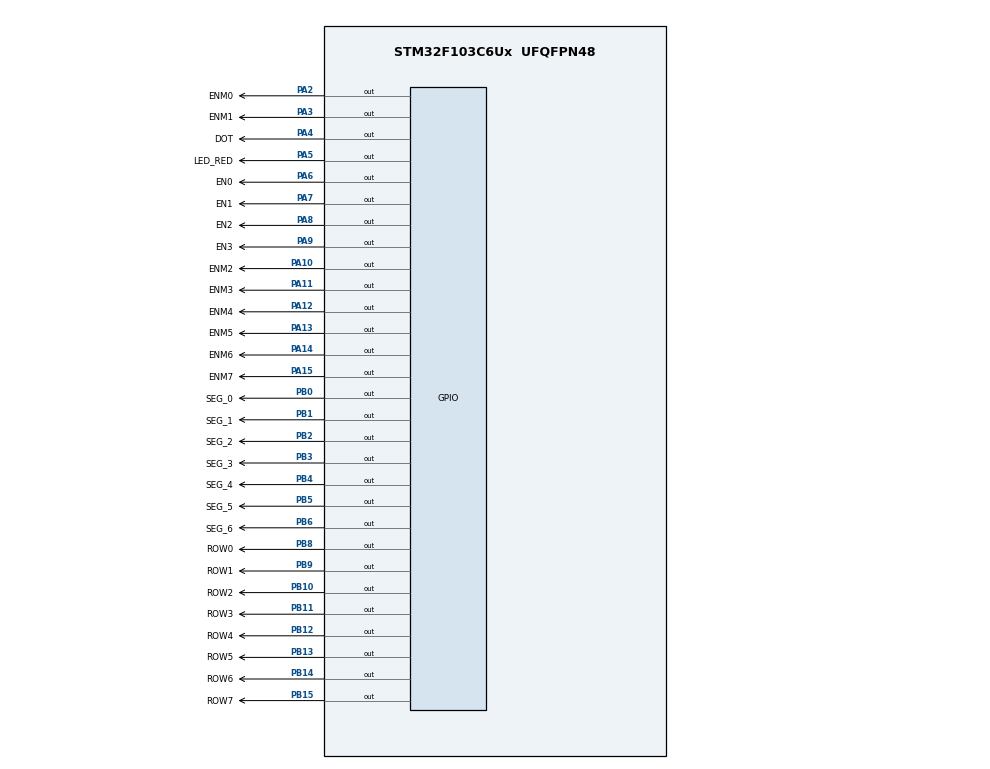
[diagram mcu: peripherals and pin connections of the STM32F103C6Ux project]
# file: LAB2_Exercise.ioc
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Mcu.Family=STM32F1
Mcu.Name=STM32F103C6Ux
Mcu.Package=UFQFPN48
NVIC.PriorityGroup=NVIC_PRIORITYGROUP_4
NVIC.TIM2_IRQn=true\:0\:0\:false\:false\:true\:true\:true
PA10.GPIO_Label=ENM2
PA10.Signal=GPIO_Output
PA11.GPIO_Label=ENM3
PA11.Signal=GPIO_Output
PA12.GPIO_Label=ENM4
PA12.Signal=GPIO_Output
PA13.GPIO_Label=ENM5
PA13.Signal=GPIO_Output
PA14.GPIO_Label=ENM6
PA14.Signal=GPIO_Output
PA15.GPIO_Label=ENM7
PA15.Signal=GPIO_Output
PA2.GPIO_Label=ENM0
PA2.Signal=GPIO_Output
PA3.GPIO_Label=ENM1
PA3.Signal=GPIO_Output
PA4.GPIO_Label=DOT
PA4.Signal=GPIO_Output
PA5.GPIO_Label=LED_RED
PA5.Signal=GPIO_Output
PA6.GPIO_Label=EN0
PA6.Signal=GPIO_Output
PA7.GPIO_Label=EN1
PA7.Signal=GPIO_Output
PA8.GPIO_Label=EN2
PA8.Signal=GPIO_Output
PA9.GPIO_Label=EN3
PA9.Signal=GPIO_Output
PB0.GPIO_Label=SEG_0
PB0.Signal=GPIO_Output
PB1.GPIO_Label=SEG_1
PB1.Signal=GPIO_Output
PB10.GPIO_Label=ROW2
PB10.Signal=GPIO_Output
PB11.GPIO_Label=ROW3
PB11.Signal=GPIO_Output
PB12.GPIO_Label=ROW4
PB12.Signal=GPIO_Output
PB13.GPIO_Label=ROW5
PB13.Signal=GPIO_Output
PB14.GPIO_Label=ROW6
PB14.Signal=GPIO_Output
PB15.GPIO_Label=ROW7
PB15.Signal=GPIO_Output
PB2.GPIO_Label=SEG_2
PB2.Signal=GPIO_Output
PB3.GPIO_Label=SEG_3
PB3.Signal=GPIO_Output
PB4.GPIO_Label=SEG_4
PB4.Signal=GPIO_Output
PB5.GPIO_Label=SEG_5
PB5.Signal=GPIO_Output
PB6.GPIO_Label=SEG_6
PB6.Signal=GPIO_Output
PB8.GPIO_Label=ROW0
PB8.Signal=GPIO_Output
PB9.GPIO_Label=ROW1
PB9.Signal=GPIO_Output
ProjectManager.HeapSize=0x200
ProjectManager.StackSize=0x400
ProjectManager.TargetToolchain=STM32CubeIDE
RCC.APB1Freq_Value=8000000
RCC.APB2Freq_Value=8000000
TIM2.Period=9
TIM2.Prescaler=7999
VP_SYS_VS_ND.Mode=No_Debug
VP_TIM2_VS_ClockSourceINT.Mode=Internal
board=custom

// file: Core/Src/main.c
/* USER CODE BEGIN Header */
/**
  ******************************************************************************
  * @file           : main.c
  * @brief          : Main program body
  ******************************************************************************
  * @attention
  *
  * <h2><center>&copy; Copyright (c) 2024 STMicroelectronics.
  * All rights reserved.</center></h2>
  *
  * This software component is licensed by ST under BSD 3-Clause license,
  * the "License"; You may not use this file except in compliance with the
  * License. You may obtain a copy of the License at:
  *                        opensource.org/licenses/BSD-3-Clause
  *
  ******************************************************************************
  */
/* USER CODE END Header */
#include "main.h"

/* USER CODE BEGIN Includes */
#include "Ex10.h"
#include "TimerInterrupt.h"
/* USER CODE END Includes */

TIM_HandleTypeDef htim2;

void SystemClock_Config(void);
static void MX_GPIO_Init(void);
static void MX_TIM2_Init(void);

int main(void)
{

  /* MCU Configuration--------------------------------------------------------*/

  /* Reset of all peripherals, Initializes the Flash interface and the Systick. */
  HAL_Init();

  /* Configure the system clock */
  SystemClock_Config();

  /* Initialize all configured peripherals */
  MX_GPIO_Init();
  MX_TIM2_Init();
  /* USER CODE BEGIN 2 */
  HAL_TIM_Base_Start_IT(&htim2);
  /* USER CODE END 2 */

  /* Infinite loop */
  /* USER CODE BEGIN WHILE */
  int i = 0;
  //int state = 0;
  setTimer(1);
  while (1)
  {
	  if(timer_flag == 1){
		  updateLEDMatrix_animation(/*state, */i);
		  i++;
		  if(i == 8){
			  i = 0;
//			  state++;
//			  if(state == 14){
//				  state = 0;
//			  }
			  for(int j = 0; j < 8; j++){
				  uint8_t temp = (matrix_buffer_heart[j] >> 7)&1;
				  matrix_buffer_heart[j] = matrix_buffer_heart[j] << 1;
				  matrix_buffer_heart[j] = matrix_buffer_heart[j] + temp;
			  }
		  }
		  setTimer(1);
	  }
    /* USER CODE END WHILE */

  }
}

void SystemClock_Config(void)
{
  RCC_OscInitTypeDef RCC_OscInitStruct = {0};
  RCC_ClkInitTypeDef RCC_ClkInitStruct = {0};

  /** Initializes the RCC Oscillators according to the specified parameters
  * in the RCC_OscInitTypeDef structure.
  */
  RCC_OscInitStruct.OscillatorType = RCC_OSCILLATORTYPE_HSI;
  RCC_OscInitStruct.HSIState = RCC_HSI_ON;
  RCC_OscInitStruct.HSICalibrationValue = RCC_HSICALIBRATION_DEFAULT;
  RCC_OscInitStruct.PLL.PLLState = RCC_PLL_NONE;
  if (HAL_RCC_OscConfig(&RCC_OscInitStruct) != HAL_OK)
  {
    Error_Handler();
  }
  /** Initializes the CPU, AHB and APB buses clocks
  */
  RCC_ClkInitStruct.ClockType = RCC_CLOCKTYPE_HCLK|RCC_CLOCKTYPE_SYSCLK
                              |RCC_CLOCKTYPE_PCLK1|RCC_CLOCKTYPE_PCLK2;
  RCC_ClkInitStruct.SYSCLKSource = RCC_SYSCLKSOURCE_HSI;
  RCC_ClkInitStruct.AHBCLKDivider = RCC_SYSCLK_DIV1;
  RCC_ClkInitStruct.APB1CLKDivider = RCC_HCLK_DIV1;
  RCC_ClkInitStruct.APB2CLKDivider = RCC_HCLK_DIV1;

  if (HAL_RCC_ClockConfig(&RCC_ClkInitStruct, FLASH_LATENCY_0) != HAL_OK)
  {
    Error_Handler();
  }
}

static void MX_TIM2_Init(void)
{

  TIM_ClockConfigTypeDef sClockSourceConfig = {0};
  TIM_MasterConfigTypeDef sMasterConfig = {0};

  htim2.Instance = TIM2;
  htim2.Init.Prescaler = 7999;
  htim2.Init.CounterMode = TIM_COUNTERMODE_UP;
  htim2.Init.Period = 9;
  htim2.Init.ClockDivision = TIM_CLOCKDIVISION_DIV1;
  htim2.Init.AutoReloadPreload = TIM_AUTORELOAD_PRELOAD_DISABLE;
  if (HAL_TIM_Base_Init(&htim2) != HAL_OK)
  {
    Error_Handler();
  }
  sClockSourceConfig.ClockSource = TIM_CLOCKSOURCE_INTERNAL;
  if (HAL_TIM_ConfigClockSource(&htim2, &sClockSourceConfig) != HAL_OK)
  {
    Error_Handler();
  }
  sMasterConfig.MasterOutputTrigger = TIM_TRGO_RESET;
  sMasterConfig.MasterSlaveMode = TIM_MASTERSLAVEMODE_DISABLE;
  if (HAL_TIMEx_MasterConfigSynchronization(&htim2, &sMasterConfig) != HAL_OK)
  {
    Error_Handler();
  }

}

static void MX_GPIO_Init(void)
{
  GPIO_InitTypeDef GPIO_InitStruct = {0};

  /* GPIO Ports Clock Enable */
  __HAL_RCC_GPIOA_CLK_ENABLE();
  __HAL_RCC_GPIOB_CLK_ENABLE();

  /*Configure GPIO pin Output Level */
  HAL_GPIO_WritePin(GPIOA, ENM0_Pin|ENM1_Pin|DOT_Pin|LED_RED_Pin
                          |EN0_Pin|EN1_Pin|EN2_Pin|EN3_Pin
                          |ENM2_Pin|ENM3_Pin|ENM4_Pin|ENM5_Pin
                          |ENM6_Pin|ENM7_Pin, GPIO_PIN_RESET);

  /*Configure GPIO pin Output Level */
  HAL_GPIO_WritePin(GPIOB, SEG_0_Pin|SEG_1_Pin|SEG_2_Pin|ROW2_Pin
                          |ROW3_Pin|ROW4_Pin|ROW5_Pin|ROW6_Pin
                          |ROW7_Pin|SEG_3_Pin|SEG_4_Pin|SEG_5_Pin
                          |SEG_6_Pin|ROW0_Pin|ROW1_Pin, GPIO_PIN_RESET);

  /*Configure GPIO pins : ENM0_Pin ENM1_Pin DOT_Pin LED_RED_Pin
                           EN0_Pin EN1_Pin EN2_Pin EN3_Pin
                           ENM2_Pin ENM3_Pin ENM4_Pin ENM5_Pin
                           ENM6_Pin ENM7_Pin */
  GPIO_InitStruct.Pin = ENM0_Pin|ENM1_Pin|DOT_Pin|LED_RED_Pin
                          |EN0_Pin|EN1_Pin|EN2_Pin|EN3_Pin
                          |ENM2_Pin|ENM3_Pin|ENM4_Pin|ENM5_Pin
                          |ENM6_Pin|ENM7_Pin;
  GPIO_InitStruct.Mode = GPIO_MODE_OUTPUT_PP;
  GPIO_InitStruct.Pull = GPIO_NOPULL;
  GPIO_InitStruct.Speed = GPIO_SPEED_FREQ_LOW;
  HAL_GPIO_Init(GPIOA, &GPIO_InitStruct);

  /*Configure GPIO pins : SEG_0_Pin SEG_1_Pin SEG_2_Pin ROW2_Pin
                           ROW3_Pin ROW4_Pin ROW5_Pin ROW6_Pin
                           ROW7_Pin SEG_3_Pin SEG_4_Pin SEG_5_Pin
                           SEG_6_Pin ROW0_Pin ROW1_Pin */
  GPIO_InitStruct.Pin = SEG_0_Pin|SEG_1_Pin|SEG_2_Pin|ROW2_Pin
                          |ROW3_Pin|ROW4_Pin|ROW5_Pin|ROW6_Pin
                          |ROW7_Pin|SEG_3_Pin|SEG_4_Pin|SEG_5_Pin
                          |SEG_6_Pin|ROW0_Pin|ROW1_Pin;
  GPIO_InitStruct.Mode = GPIO_MODE_OUTPUT_PP;
  GPIO_InitStruct.Pull = GPIO_NOPULL;
  GPIO_InitStruct.Speed = GPIO_SPEED_FREQ_LOW;
  HAL_GPIO_Init(GPIOB, &GPIO_InitStruct);

}

/* USER CODE BEGIN 4 */
void HAL_TIM_PeriodElapsedCallback(TIM_HandleTypeDef *htim){
	timerRun();
}
/* USER CODE END 4 */

void Error_Handler(void)
{
  __disable_irq();
  while (1)
  {
  }
}

/************************ (C) COPYRIGHT STMicroelectronics *****END OF FILE****/
